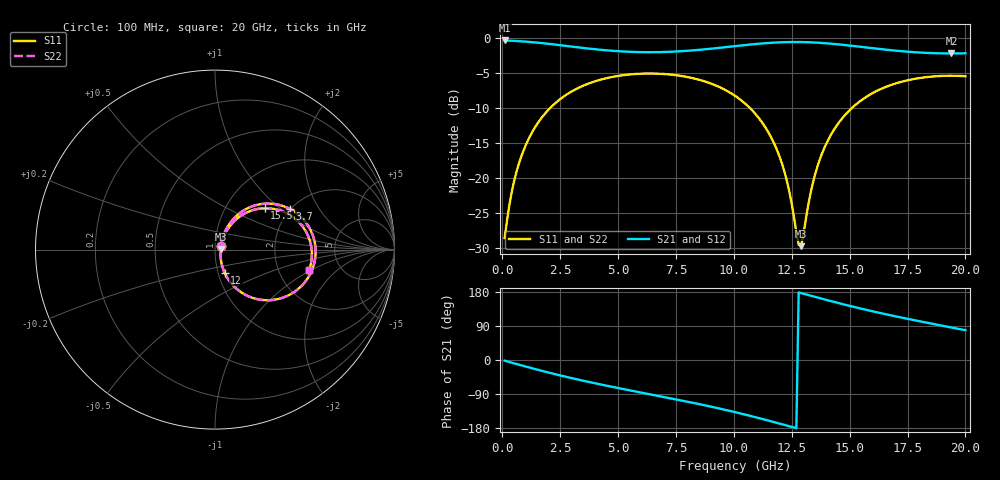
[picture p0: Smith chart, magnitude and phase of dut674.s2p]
! Touchstone file exported from HFSS 2026.1.0
!  File:  C:/ffzhzh/LocalFiles/Ansys_Project_Files/temp_train_TSV_RDL_674_1783132758_53076.aedt
!  Generated:  10:54:56 AM Jul  4, 2026
!  Design:  TSV_RDL
!  Project:  temp_train_TSV_RDL_674_1783132758_53076
! Variables:
!  h_bsmrdl = 3.48um
!  h_ox = 20um
!  h_rdl = 5um
!  h_sub = 77.43um
!  h_tmrdl = 3.16um
!  h_tsv = 77.43um
!  h_via = 3um
!  l_bsmrdl = 362.05um
!  l_sub = 4804.36um
!  l_tmrdl = 802.47um
!  m_sub = 200um
!  pitch = 43.01um
!  r_tsv = 2.61um
!  s_tmrdl = 10um
!  w_bsmrdl = 13.91um
!  w_sub = 500um
!  w_tmrdl = 22.2um
!  x_tsv_center1 = 813.57um
!  x_tsv_center2 = 1189.53um
!  x_tsv_center3 = 2014.2um
!  x_tsv_center4 = 2390.16um
!  x_tsv_center5 = 3214.83um
!  x_tsv_center6 = 3590.79um
# GHz S MA R 50.000000
! Terminal data exported
! Port[1] = TM_RDL1_1_T1
! Port[2] = TM_RDL5_1_T1
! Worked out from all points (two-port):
!   200 points, 100 MHz to 20 GHz, reference 50 ohm
!   highest |S21| = -0.29 dB at 100 MHz (marker M1); lowest = -2.1 dB at 19.4 GHz (marker M2)
!   |S21| within 3 dB of the highest: start of sweep to end of sweep
!   lowest |S11| = -29.7 dB at 12.9 GHz (marker M3), VSWR 1.07, Z = 53.3 + j0.357 ohm
!   |S11| at or under -10 dB: start of sweep to 2.055 GHz; 10.7 GHz to 15.09 GHz (4.381 GHz wide, 34 % of centre)
!   |S22| runs from -29.9 to -5.0 dB; largest |S21 - S12| = 1.7e-14
!   S11 on the Smith chart (normalised r, x): 100 MHz: 1.07, +0.04; 3.7 GHz: 1.97, +1.16; 12 GHz: 1.07, -0.28; 15.5 GHz: 1.51, +0.80; 20 GHz: 2.98, -0.95
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0.1  0.03724 27.7  0.9674 -1.8  0.9674 -1.8  0.03724 27.7
! Gamma 0 0 0 0
! Port Impedance 50 0 50 0
0.5  0.09366 59.0  0.9607 -8.7  0.9607 -8.7  0.09366 59.0
1.2  0.2001 59.0  0.9435 -20.4  0.9435 -20.4  0.2001 59.0
2.2  0.3338 47.7  0.907 -36.2  0.907 -36.2  0.3338 47.7
3.5  0.4595 31.1  0.8544 -54.8  0.8544 -54.8  0.4595 31.1
3.7  0.4739 28.7  0.8471 -57.5  0.8471 -57.5  0.4739 28.7
5.3  0.5477 9.7  0.8053 -77.6  0.8053 -77.6  0.5477 9.7
6.8  0.5587 -7.2  0.7983 -95.4  0.7983 -95.4  0.5587 -7.2
8.6  0.5008 -28.1  0.8313 -117.6  0.8313 -117.6  0.5008 -28.1
10.1  0.3835 -47.0  0.8829 -138.3  0.8829 -138.3  0.3835 -47.0
11.2  0.253 -60.8  0.9203 -155.1  0.9203 -155.1  0.2529 -60.9
12  0.1387 -67.4  0.9382 -168.2  0.9382 -168.2  0.1386 -67.6
12.4  0.07953 -63.5  0.9424 -174.9  0.9424 -174.9  0.07938 -63.8
12.8  0.03333 -20.3  0.9429 178.4  0.9429 178.4  0.03292 -20.5
12.9  0.03256 5.9  0.9425 176.7  0.9425 176.7  0.03213 6.0
13.4  0.09058 55.9  0.9368 168.3  0.9368 168.3  0.0904 56.2
13.8  0.1487 57.8  0.9284 161.7  0.9284 161.7  0.1486 58.0
14.2  0.2052 55.0  0.9172 155.3  0.9172 155.3  0.2051 55.1
15.5  0.3605 39.8  0.87 135.4  0.87 135.4  0.3604 39.9
16.7  0.4588 25.0  0.8264 118.9  0.8264 118.9  0.4587 25.1
19.4  0.5409 -5.7  0.7808 85.7  0.7808 85.7  0.5408 -5.6
20  0.5365 -12.3  0.7832 78.5  0.7832 78.5  0.5365 -12.2
